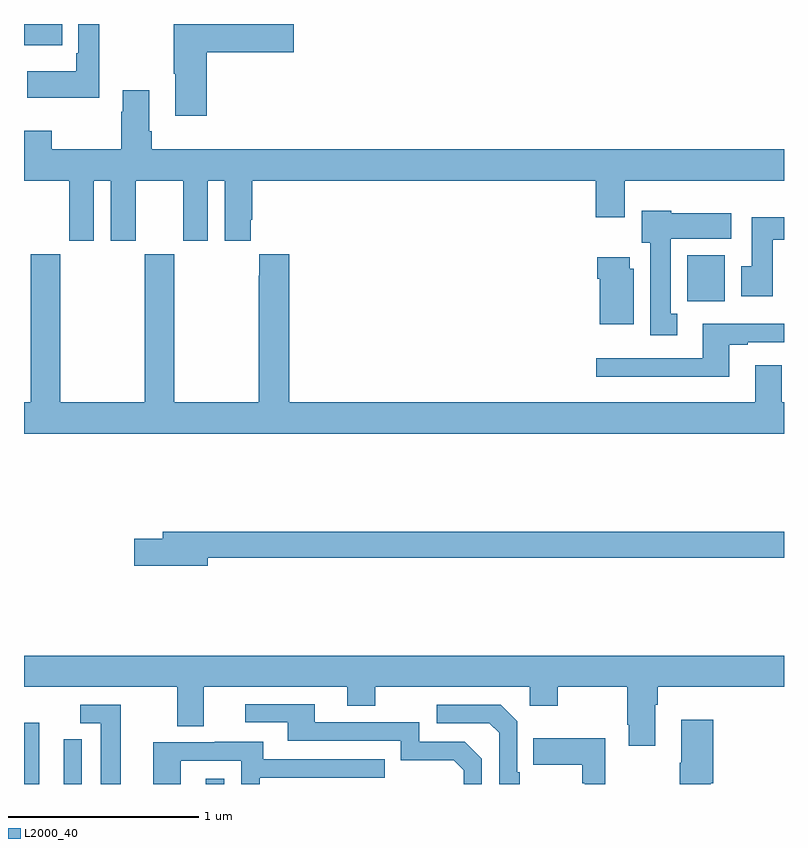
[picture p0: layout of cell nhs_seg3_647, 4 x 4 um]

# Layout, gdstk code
import gdstk
lib = gdstk.Library(unit=1e-6, precision=1e-09)
def R(c, l, rs):  # rectangles x0, y0, x1, y1
    for r in rs: c.add(gdstk.rectangle(r[:2], r[2:], *l))
def P(c, l, *ps):  # polygons
    for p in ps: c.add(gdstk.Polygon(p, *l))
L2000_40 = (2000, 40)

nhs_seg3_647 = lib.new_cell('nhs_seg3_647')
R(nhs_seg3_647, L2000_40, [(143,704.4,143.08,704.722), (143.957,704.4,144.054,704.428), (146.492,706.94,146.689,707.182), (143,708.287,143.201,708.4)])
P(nhs_seg3_647, L2000_40, [(143.395,708.4),(143.286,708.4),(143.286,708.247),(143.274,708.247),(143.274,708.151),(143.017,708.151),(143.017,708.011),(143.395,708.011)],
  [(143.963,708.251),(144.421,708.251),(144.421,708.398),(143.963,708.398),(143.963,708.4),(143.788,708.4),(143.788,708.139),(143.795,708.139),(143.795,707.916),(143.963,707.916)],
  [(143,707.839),(143,707.576),(143.237,707.576),(143.237,707.259),(143.368,707.259),(143.368,707.576),(143.456,707.576),(143.456,707.259),(143.587,707.259),(143.587,707.576),(143.837,707.576),(143.837,707.259),(143.968,707.259),(143.968,707.576),(144.056,707.576),(144.056,707.259),(144.193,707.259),(144.193,707.371),(144.2,707.371),(144.2,707.576),(146.009,707.576),(146.009,707.382),(146.161,707.382),(146.161,707.576),(147,707.576),(147,707.74),(143.672,707.74),(143.672,707.836),(143.659,707.836),(143.659,708.052),(143.519,708.052),(143.519,707.939),(143.512,707.939),(143.512,707.74),(143.145,707.74),(143.145,707.839)],
  [(146.437,706.874),(146.404,706.874),(146.404,707.27),(146.722,707.27),(146.722,707.404),(146.406,707.404),(146.406,707.416),(146.252,707.416),(146.252,707.25),(146.297,707.25),(146.297,706.761),(146.437,706.761)],
  [(146.941,707.264),(147,707.264),(147,707.383),(146.831,707.383),(146.831,707.124),(146.774,707.124),(146.774,706.968),(146.941,706.968)],
  [(147,706.408),(146.989,706.408),(146.989,706.603),(146.849,706.603),(146.849,706.408),(144.395,706.408),(144.395,707.188),(144.239,707.188),(144.239,707.075),(144.235,707.075),(144.235,706.408),(143.79,706.408),(143.79,707.188),(143.635,707.188),(143.635,706.408),(143.19,706.408),(143.19,707.188),(143.035,707.188),(143.035,706.408),(143,706.408),(143,706.244),(147,706.244)],
  [(146.209,707.112),(146.188,707.112),(146.188,707.173),(146.018,707.173),(146.018,707.06),(146.03,707.06),(146.03,706.82),(146.209,706.82)],
  [(146.713,706.713),(146.809,706.713),(146.809,706.725),(147,706.725),(147,706.822),(146.573,706.822),(146.573,706.641),(146.013,706.641),(146.013,706.544),(146.713,706.544)],
  [(143.968,705.592),(147,705.592),(147,705.728),(143.729,705.728),(143.729,705.692),(143.58,705.692),(143.58,705.55),(143.968,705.55)],
  [(146.323,704.816),(146.336,704.816),(146.336,704.912),(147,704.912),(147,705.076),(143,705.076),(143,704.912),(143.807,704.912),(143.807,704.704),(143.947,704.704),(143.947,704.912),(144.701,704.912),(144.701,704.813),(144.849,704.813),(144.849,704.912),(145.662,704.912),(145.662,704.813),(145.809,704.813),(145.809,704.912),(146.176,704.912),(146.176,704.713),(146.183,704.713),(146.183,704.601),(146.323,704.601)],
  [(145.41,704.532),(145.32,704.622),(145.08,704.622),(145.08,704.724),(144.529,704.724),(144.529,704.82),(144.165,704.82),(144.165,704.724),(144.389,704.724),(144.389,704.628),(144.984,704.628),(144.984,704.525),(145.261,704.525),(145.314,704.472),(145.314,704.4),(145.41,704.4)],
  [(143.509,704.817),(143.295,704.817),(143.295,704.721),(143.405,704.721),(143.405,704.4),(143.509,704.4)],
  [(145.609,704.461),(145.596,704.461),(145.596,704.73),(145.509,704.817),(145.173,704.817),(145.173,704.721),(145.449,704.721),(145.5,704.67),(145.5,704.4),(145.609,704.4)],
  [(146.614,704.403),(146.627,704.403),(146.627,704.737),(146.459,704.737),(146.459,704.513),(146.452,704.513),(146.452,704.4),(146.614,704.4)],
  [(146.059,704.641),(145.681,704.641),(145.681,704.501),(145.938,704.501),(145.938,704.405),(145.95,704.405),(145.95,704.4),(146.059,704.4)],
  [(143.304,704.636),(143.208,704.636),(143.208,704.482),(143.21,704.482),(143.21,704.4),(143.304,704.4)],
  [(143.826,704.523),(144.144,704.523),(144.144,704.4),(144.24,704.4),(144.24,704.433),(144.899,704.433),(144.899,704.529),(144.259,704.529),(144.259,704.623),(144.005,704.623),(144.005,704.619),(143.681,704.619),(143.681,704.4),(143.826,704.4)])

lib.write_gds('nhs_seg3_647.gds')
